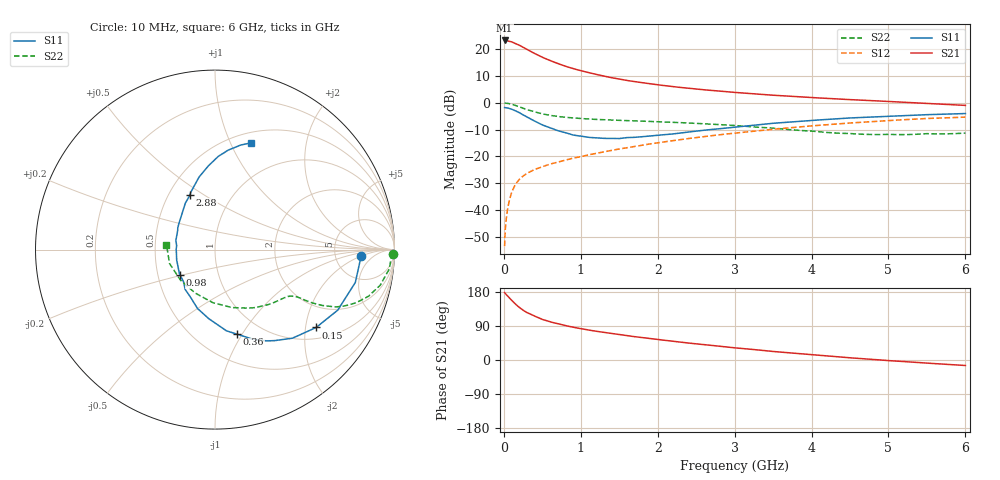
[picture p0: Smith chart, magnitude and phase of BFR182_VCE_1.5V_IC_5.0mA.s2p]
! Infineon Technologies  Discrete & RF Semiconductors
! BFR182
! VCE =  1.5 V,  IC =  5.0 mA
! Common Emitter S-Parameters:  Nov 2015
# GHz  S  MA  R  50
!  f  S11  S21  S12  S22
! GHz  MAG  ANG  MAG  ANG  MAG  ANG  MAG  ANG
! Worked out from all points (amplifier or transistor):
!   210 points, 10 MHz to 6 GHz, reference 50 ohm
!   highest |S21| = 23.3 dB at 10 MHz (marker M1)
!   |S21| within 3 dB of that: start of sweep to 277.8 MHz
!   unconditionally stable (mu >= 1): 1.018 GHz to 2.874 GHz
!   at 185 MHz: K = 0.34, MSG = 25.4 dB, |S12| = -29.2 dB
!   at 1.52 GHz: K = 1.07, MAG = 11.4 dB, |S12| = -17.2 dB
!   at 6 GHz: K = 0.90, MSG = 2.2 dB, |S12| = -5.4 dB
!   S11 on the Smith chart (normalised r, x): 10 MHz: 9.28, -2.11; 150 MHz: 1.30, -2.29; 360 MHz: 0.77, -0.95; 980 MHz: 0.65, -0.20; 2.88 GHz: 0.64, +0.44; 6 GHz: 0.61, +1.20
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0.01  0.8142 -2.7  14.57 177.8  0.0021 86.2  0.9911 -1.3
0.02  0.8094 -5.3  14.3 175.2  0.0045 86.6  0.9828 -2.6
0.04  0.8033 -10.6  14.27 170.8  0.0086 83.7  0.9787 -5.1
0.1  0.7625 -26.3  13.8 157.8  0.0208 75.7  0.9422 -12.1
0.15  0.7113 -37.6  12.75 147.4  0.0297 70.9  0.894 -16.9
0.2  0.6553 -48.9  11.9 138.9  0.0369 67.7  0.8428 -20.5
0.24  0.6061 -56.8  11.08 132.8  0.0416 64.7  0.8002 -22.8
0.3  0.5429 -67.0  9.875 125.2  0.0479 62.1  0.7451 -25.4
0.36  0.4871 -75.4  8.909 119.8  0.0532 60.4  0.7029 -26.6
0.4  0.4568 -82.0  8.317 115.6  0.0568 59.5  0.6749 -27.5
0.5  0.3866 -95.1  7.062 107.1  0.0639 58.7  0.6206 -28.7
0.6  0.3421 -106.6  6.143 100.8  0.0715 58.8  0.5816 -29.2
0.8  0.2771 -126.9  4.806 90.8  0.0848 59.1  0.5352 -29.8
0.98  0.2409 -143.6  4.044 83.5  0.0973 60.2  0.5107 -30.7
1.02  0.2365 -147.7  3.908 82.0  0.1001 60.4  0.506 -30.9
1.4  0.2164 179.3  2.938 70.0  0.1292 61.3  0.4757 -34.0
2.02  0.2492 143.4  2.149 53.6  0.1807 59.9  0.4427 -41.6
2.88  0.3359 114.7  1.617 34.7  0.2597 54.6  0.3854 -57.4
3.1  0.3621 110.0  1.523 30.4  0.2806 52.6  0.3667 -62.6
4.1  0.478 93.1  1.229 12.4  0.3794 42.4  0.2867 -96.3
5.1  0.5673 81.0  1.04 -2.8  0.474 29.9  0.2546 -143.3
6  0.6288 71.2  0.893 -14.5  0.5395 17.1  0.2717 174.2
